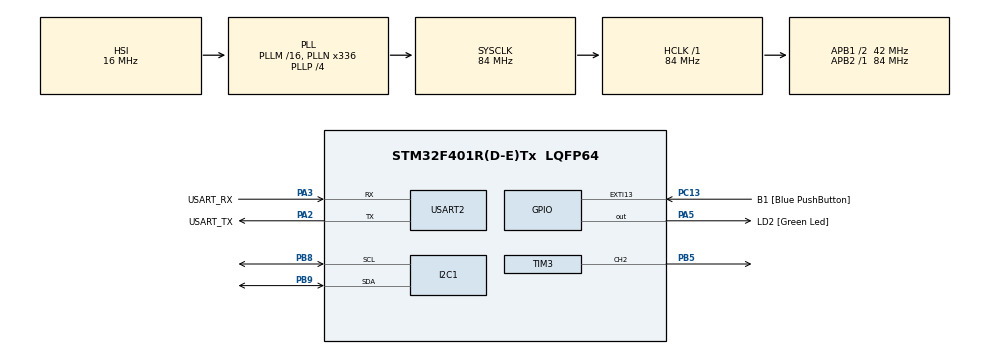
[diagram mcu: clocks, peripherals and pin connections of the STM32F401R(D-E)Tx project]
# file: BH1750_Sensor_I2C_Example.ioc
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Mcu.Family=STM32F4
Mcu.Name=STM32F401R(D-E)Tx
Mcu.Package=LQFP64
NVIC.PriorityGroup=NVIC_PRIORITYGROUP_4
PA13.GPIO_Label=TMS
PA13.Mode=Trace_Asynchronous_SW
PA13.Signal=SYS_JTMS-SWDIO
PA14.GPIO_Label=TCK
PA14.Mode=Trace_Asynchronous_SW
PA14.Signal=SYS_JTCK-SWCLK
PA2.GPIO_Label=USART_TX
PA2.GPIO_Mode=GPIO_MODE_AF_PP
PA2.GPIO_PuPd=GPIO_NOPULL
PA2.GPIO_Speed=GPIO_SPEED_FREQ_LOW
PA2.Mode=Asynchronous
PA2.Signal=USART2_TX
PA3.GPIO_Label=USART_RX
PA3.GPIO_Mode=GPIO_MODE_AF_PP
PA3.GPIO_PuPd=GPIO_NOPULL
PA3.GPIO_Speed=GPIO_SPEED_FREQ_LOW
PA3.Mode=Asynchronous
PA3.Signal=USART2_RX
PA5.GPIO_Label=LD2 [Green Led]
PA5.GPIO_Mode=GPIO_MODE_OUTPUT_PP
PA5.GPIO_PuPd=GPIO_NOPULL
PA5.GPIO_Speed=GPIO_SPEED_FREQ_LOW
PA5.Signal=GPIO_Output
PB3.GPIO_Label=SWO
PB3.Mode=Trace_Asynchronous_SW
PB3.Signal=SYS_JTDO-SWO
PB5.Signal=S_TIM3_CH2
PB8.Mode=I2C
PB8.Signal=I2C1_SCL
PB9.Mode=I2C
PB9.Signal=I2C1_SDA
PC13-ANTI_TAMP.GPIO_Label=B1 [Blue PushButton]
PC13-ANTI_TAMP.GPIO_ModeDefaultEXTI=GPIO_MODE_IT_FALLING
PC13-ANTI_TAMP.GPIO_PuPd=GPIO_NOPULL
PC13-ANTI_TAMP.Signal=GPXTI13
PC14-OSC32_IN.Mode=LSE-External-Oscillator
PC14-OSC32_IN.Signal=RCC_OSC32_IN
PC15-OSC32_OUT.Mode=LSE-External-Oscillator
PC15-OSC32_OUT.Signal=RCC_OSC32_OUT
PH0\ -\ OSC_IN.Mode=HSE-External-Clock-Source
PH0\ -\ OSC_IN.Signal=RCC_OSC_IN
PH1\ -\ OSC_OUT.Mode=HSE-External-Clock-Source
PH1\ -\ OSC_OUT.Signal=RCC_OSC_OUT
ProjectManager.HeapSize=0x200
ProjectManager.StackSize=0x400
ProjectManager.TargetToolchain=STM32CubeIDE
RCC.48MHZClocksFreq_Value=48000000
RCC.AHBFreq_Value=84000000
RCC.APB1CLKDivider=RCC_HCLK_DIV2
RCC.APB1Freq_Value=42000000
RCC.APB1TimFreq_Value=84000000
RCC.APB2Freq_Value=84000000
RCC.APB2TimFreq_Value=84000000
RCC.CortexFreq_Value=84000000
RCC.HCLKFreq_Value=84000000
RCC.HSE_VALUE=8000000
RCC.HSI_VALUE=16000000
RCC.PLLN=336
RCC.PLLP=RCC_PLLP_DIV4
RCC.PLLQ=7
RCC.SYSCLKFreq_VALUE=84000000
RCC.SYSCLKSource=RCC_SYSCLKSOURCE_PLLCLK
RCC.VCOOutputFreq_Value=336000000
SH.S_TIM3_CH2.0=TIM3_CH2,PWM Generation2 CH2
TIM3.Channel-PWM\ Generation2\ CH2=TIM_CHANNEL_2
TIM3.Prescaler=83
USART2.VirtualMode=VM_ASYNC
VP_TIM3_VS_ClockSourceINT.Mode=Internal
board=NUCLEO-F401RE

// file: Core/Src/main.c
/* USER CODE BEGIN Header */
/**
  ******************************************************************************
  * @file           : main.c
  * @brief          : Main program body
  ******************************************************************************
  * @attention
  *
  * Copyright (c) 2026 STMicroelectronics.
  * All rights reserved.
  *
  * This software is licensed under terms that can be found in the LICENSE file
  * in the root directory of this software component.
  * If no LICENSE file comes with this software, it is provided AS-IS.
  *
  ******************************************************************************
  */
/* USER CODE END Header */
#include "main.h"

/* USER CODE BEGIN Includes */
#include "stdio.h"
#include "string.h"

/* USER CODE END Includes */

I2C_HandleTypeDef hi2c1;

TIM_HandleTypeDef htim3;

UART_HandleTypeDef huart2;

/* USER CODE BEGIN PV */
char msg[100];
uint8_t cmd = 0x10; // Start continuous high-resolution measurement
uint8_t data[2];
uint16_t raw_value;
uint32_t lux;
/* USER CODE END PV */

void SystemClock_Config(void);
static void MX_GPIO_Init(void);
static void MX_I2C1_Init(void);
static void MX_TIM3_Init(void);
static void MX_USART2_UART_Init(void);

/* USER CODE BEGIN 0 */
/* Initially Test for Sensor Whether it is connected or not*/
void I2C_Test(void){
	if(HAL_I2C_IsDeviceReady(&hi2c1,0x46,3,100)==HAL_OK){
		sprintf(msg,"BH1750 Sensor is Connected\r\n");
		HAL_UART_Transmit(&huart2,(uint8_t*)msg,strlen(msg),HAL_MAX_DELAY);
	}
	else{
		sprintf(msg,"BH1750 Sensor is Not Connected\r\n");
		HAL_UART_Transmit(&huart2,(uint8_t*)msg,strlen(msg),HAL_MAX_DELAY);
	}
}
void BH1750_Start_Read(void){
	HAL_I2C_Master_Transmit(&hi2c1,0x46,&cmd,1,HAL_MAX_DELAY);
	sprintf(msg, "Data is Transmitted\r\n");
	HAL_UART_Transmit(&huart2,(uint8_t*)msg,strlen(msg),HAL_MAX_DELAY);

	HAL_I2C_Master_Receive(&hi2c1,0x46,data,2,HAL_MAX_DELAY);
	sprintf(msg,"Data = %02X,%02X \r\n",data[0],data[1]);
	HAL_UART_Transmit(&huart2,(uint8_t*)msg,strlen(msg),HAL_MAX_DELAY);

	/* Converting 2 data bytes to Raw data of BH1750*/
	raw_value = ((uint16_t)data[0] << 8) | data[1];
	sprintf(msg,"raw_value  =%u \r\n",raw_value);
	HAL_UART_Transmit(&huart2,(uint8_t*)msg,strlen(msg),HAL_MAX_DELAY);

	/* Converting raw values to Lux */
	lux =(raw_value * 10)/12;
	sprintf(msg,"LUX  =%lu \r\n",lux);
	HAL_UART_Transmit(&huart2,(uint8_t*)msg,strlen(msg),HAL_MAX_DELAY);

}

/* USER CODE END 0 */

int main(void)
{

  /* MCU Configuration--------------------------------------------------------*/

  /* Reset of all peripherals, Initializes the Flash interface and the Systick. */
  HAL_Init();

  /* Configure the system clock */
  SystemClock_Config();

  /* Initialize all configured peripherals */
  MX_GPIO_Init();
  MX_I2C1_Init();
  MX_TIM3_Init();
  MX_USART2_UART_Init();
  /* USER CODE BEGIN 2 */
  I2C_Test();
  BH1750_Start_Read();

  /* USER CODE END 2 */

  /* Infinite loop */
  while (1)
  {
	  HAL_Delay(1000);

  }
}

void SystemClock_Config(void)
{
  RCC_OscInitTypeDef RCC_OscInitStruct = {0};
  RCC_ClkInitTypeDef RCC_ClkInitStruct = {0};

  /** Configure the main internal regulator output voltage
  */
  __HAL_RCC_PWR_CLK_ENABLE();
  __HAL_PWR_VOLTAGESCALING_CONFIG(PWR_REGULATOR_VOLTAGE_SCALE2);

  /** Initializes the RCC Oscillators according to the specified parameters
  * in the RCC_OscInitTypeDef structure.
  */
  RCC_OscInitStruct.OscillatorType = RCC_OSCILLATORTYPE_HSI;
  RCC_OscInitStruct.HSIState = RCC_HSI_ON;
  RCC_OscInitStruct.HSICalibrationValue = RCC_HSICALIBRATION_DEFAULT;
  RCC_OscInitStruct.PLL.PLLState = RCC_PLL_ON;
  RCC_OscInitStruct.PLL.PLLSource = RCC_PLLSOURCE_HSI;
  RCC_OscInitStruct.PLL.PLLM = 16;
  RCC_OscInitStruct.PLL.PLLN = 336;
  RCC_OscInitStruct.PLL.PLLP = RCC_PLLP_DIV4;
  RCC_OscInitStruct.PLL.PLLQ = 7;
  if (HAL_RCC_OscConfig(&RCC_OscInitStruct) != HAL_OK)
  {
    Error_Handler();
  }

  /** Initializes the CPU, AHB and APB buses clocks
  */
  RCC_ClkInitStruct.ClockType = RCC_CLOCKTYPE_HCLK|RCC_CLOCKTYPE_SYSCLK
                              |RCC_CLOCKTYPE_PCLK1|RCC_CLOCKTYPE_PCLK2;
  RCC_ClkInitStruct.SYSCLKSource = RCC_SYSCLKSOURCE_PLLCLK;
  RCC_ClkInitStruct.AHBCLKDivider = RCC_SYSCLK_DIV1;
  RCC_ClkInitStruct.APB1CLKDivider = RCC_HCLK_DIV2;
  RCC_ClkInitStruct.APB2CLKDivider = RCC_HCLK_DIV1;

  if (HAL_RCC_ClockConfig(&RCC_ClkInitStruct, FLASH_LATENCY_2) != HAL_OK)
  {
    Error_Handler();
  }
}

static void MX_I2C1_Init(void)
{

  hi2c1.Instance = I2C1;
  hi2c1.Init.ClockSpeed = 100000;
  hi2c1.Init.DutyCycle = I2C_DUTYCYCLE_2;
  hi2c1.Init.OwnAddress1 = 0;
  hi2c1.Init.AddressingMode = I2C_ADDRESSINGMODE_7BIT;
  hi2c1.Init.DualAddressMode = I2C_DUALADDRESS_DISABLE;
  hi2c1.Init.OwnAddress2 = 0;
  hi2c1.Init.GeneralCallMode = I2C_GENERALCALL_DISABLE;
  hi2c1.Init.NoStretchMode = I2C_NOSTRETCH_DISABLE;
  if (HAL_I2C_Init(&hi2c1) != HAL_OK)
  {
    Error_Handler();
  }

}

static void MX_TIM3_Init(void)
{

  TIM_ClockConfigTypeDef sClockSourceConfig = {0};
  TIM_MasterConfigTypeDef sMasterConfig = {0};
  TIM_OC_InitTypeDef sConfigOC = {0};

  htim3.Instance = TIM3;
  htim3.Init.Prescaler = 83;
  htim3.Init.CounterMode = TIM_COUNTERMODE_UP;
  htim3.Init.Period = 65535;
  htim3.Init.ClockDivision = TIM_CLOCKDIVISION_DIV1;
  htim3.Init.AutoReloadPreload = TIM_AUTORELOAD_PRELOAD_DISABLE;
  if (HAL_TIM_Base_Init(&htim3) != HAL_OK)
  {
    Error_Handler();
  }
  sClockSourceConfig.ClockSource = TIM_CLOCKSOURCE_INTERNAL;
  if (HAL_TIM_ConfigClockSource(&htim3, &sClockSourceConfig) != HAL_OK)
  {
    Error_Handler();
  }
  if (HAL_TIM_PWM_Init(&htim3) != HAL_OK)
  {
    Error_Handler();
  }
  sMasterConfig.MasterOutputTrigger = TIM_TRGO_RESET;
  sMasterConfig.MasterSlaveMode = TIM_MASTERSLAVEMODE_DISABLE;
  if (HAL_TIMEx_MasterConfigSynchronization(&htim3, &sMasterConfig) != HAL_OK)
  {
    Error_Handler();
  }
  sConfigOC.OCMode = TIM_OCMODE_PWM1;
  sConfigOC.Pulse = 0;
  sConfigOC.OCPolarity = TIM_OCPOLARITY_HIGH;
  sConfigOC.OCFastMode = TIM_OCFAST_DISABLE;
  if (HAL_TIM_PWM_ConfigChannel(&htim3, &sConfigOC, TIM_CHANNEL_2) != HAL_OK)
  {
    Error_Handler();
  }
  HAL_TIM_MspPostInit(&htim3);

}

static void MX_USART2_UART_Init(void)
{

  huart2.Instance = USART2;
  huart2.Init.BaudRate = 115200;
  huart2.Init.WordLength = UART_WORDLENGTH_8B;
  huart2.Init.StopBits = UART_STOPBITS_1;
  huart2.Init.Parity = UART_PARITY_NONE;
  huart2.Init.Mode = UART_MODE_TX_RX;
  huart2.Init.HwFlowCtl = UART_HWCONTROL_NONE;
  huart2.Init.OverSampling = UART_OVERSAMPLING_16;
  if (HAL_UART_Init(&huart2) != HAL_OK)
  {
    Error_Handler();
  }

}

static void MX_GPIO_Init(void)
{
  GPIO_InitTypeDef GPIO_InitStruct = {0};

  /* GPIO Ports Clock Enable */
  __HAL_RCC_GPIOC_CLK_ENABLE();
  __HAL_RCC_GPIOH_CLK_ENABLE();
  __HAL_RCC_GPIOA_CLK_ENABLE();
  __HAL_RCC_GPIOB_CLK_ENABLE();

  /*Configure GPIO pin Output Level */
  HAL_GPIO_WritePin(LD2_GPIO_Port, LD2_Pin, GPIO_PIN_RESET);

  /*Configure GPIO pin : B1_Pin */
  GPIO_InitStruct.Pin = B1_Pin;
  GPIO_InitStruct.Mode = GPIO_MODE_IT_FALLING;
  GPIO_InitStruct.Pull = GPIO_NOPULL;
  HAL_GPIO_Init(B1_GPIO_Port, &GPIO_InitStruct);

  /*Configure GPIO pin : LD2_Pin */
  GPIO_InitStruct.Pin = LD2_Pin;
  GPIO_InitStruct.Mode = GPIO_MODE_OUTPUT_PP;
  GPIO_InitStruct.Pull = GPIO_NOPULL;
  GPIO_InitStruct.Speed = GPIO_SPEED_FREQ_LOW;
  HAL_GPIO_Init(LD2_GPIO_Port, &GPIO_InitStruct);

}

void Error_Handler(void)
{
  __disable_irq();
  while (1)
  {
  }
}
